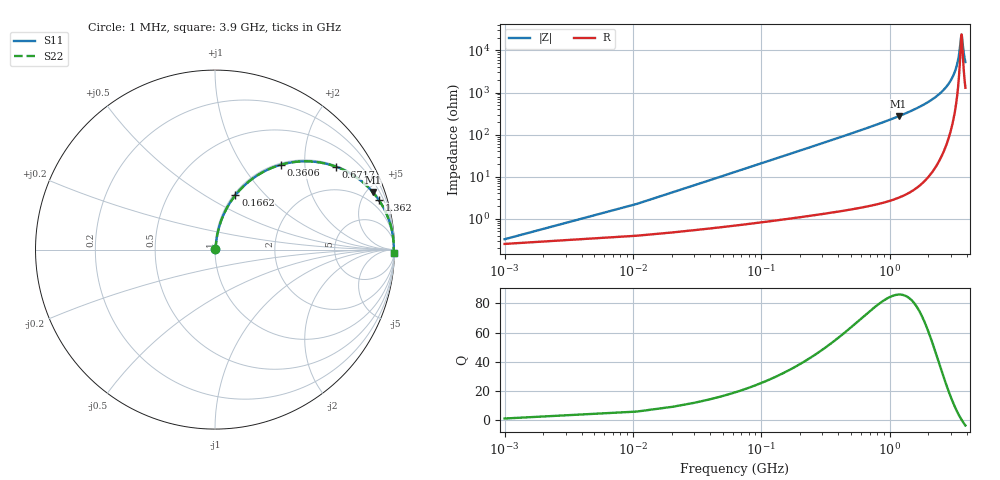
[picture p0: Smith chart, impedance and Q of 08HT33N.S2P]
! Coilcraft 0805HT-33N Chip Inductor
! 24 June 2002
# MHZ S MA R 50
!Freq  MagS11  AngS11  MagS21  AngS21  MagS12  AngS12  MagS22  AngS22
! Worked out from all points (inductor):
!   403 points, 1 MHz to 3.9 GHz, reference 50 ohm
!   read as one part in series: L = 33 nH near 20.44 MHz
!   highest Q = 86.1 at 1.177 GHz (marker M1), where L = 36.9 nH
!   self-resonance near 3.636 GHz
!   S11 on the Smith chart (normalised r, x): 1 MHz: 1.01, +0.00; 166.2 MHz: 1.02, +0.69; 360.6 MHz: 1.03, +1.51; 671.7 MHz: 1.04, +2.88; 1.362 GHz: 1.08, +6.57; 3.9 GHz: open
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1  0.003264 39.2  0.9975 -0.1  0.9975 -0.1  0.003264 39.2
30.16  0.06231 81.5  0.9927 -3.6  0.9927 -3.6  0.06231 81.5
49.6  0.1019 80.6  0.9885 -5.8  0.9885 -5.8  0.1019 80.6
98.2  0.1983 76.3  0.9722 -11.4  0.9722 -11.4  0.1983 76.3
166.24  0.3237 69.5  0.9368 -18.9  0.9368 -18.9  0.3237 69.5
253.72  0.4631 61.1  0.8758 -27.6  0.8758 -27.6  0.4631 61.1
360.64  0.5974 52.3  0.7909 -36.7  0.7909 -36.7  0.5974 52.3
652.24  0.808 35.3  0.5782 -53.9  0.5782 -53.9  0.808 35.3
671.68  0.8165 34.5  0.5663 -54.7  0.5663 -54.7  0.8165 34.5
1177.12  0.9353 20.1  0.3431 -69.3  0.3431 -69.3  0.9353 20.1
1303.48  0.9485 17.8  0.3059 -71.5  0.3059 -71.5  0.9485 17.8
1361.8  0.9535 16.9  0.2904 -72.4  0.2904 -72.4  0.9535 16.9
1954.72  0.9823 9.9  0.1724 -79.2  0.1724 -79.2  0.9823 9.9
2605.96  0.9931 5.1  0.08955 -83.0  0.08955 -83.0  0.9931 5.1
2985.04  0.9954 3.0  0.05269 -83.4  0.05269 -83.4  0.9954 3.0
3257.2  0.996 1.7  0.02953 -81.3  0.02953 -81.3  0.996 1.7
3451.6  0.996 0.8  0.01449 -73.7  0.01449 -73.7  0.996 0.8
3607.12  0.9959 0.1  0.004728 -29.4  0.004728 -29.4  0.9959 0.1
3636.28  0.9958 0.0  0.004167 -2.8  0.004167 -2.8  0.9958 0.0
3665.44  0.9958 -0.1  0.004619 24.2  0.004619 24.2  0.9958 -0.1
3791.8  0.9955 -0.6  0.01171 67.2  0.01171 67.2  0.9955 -0.6
3900  0.9952 -1.0  0.01884 74.8  0.01884 74.8  0.9952 -1.0
